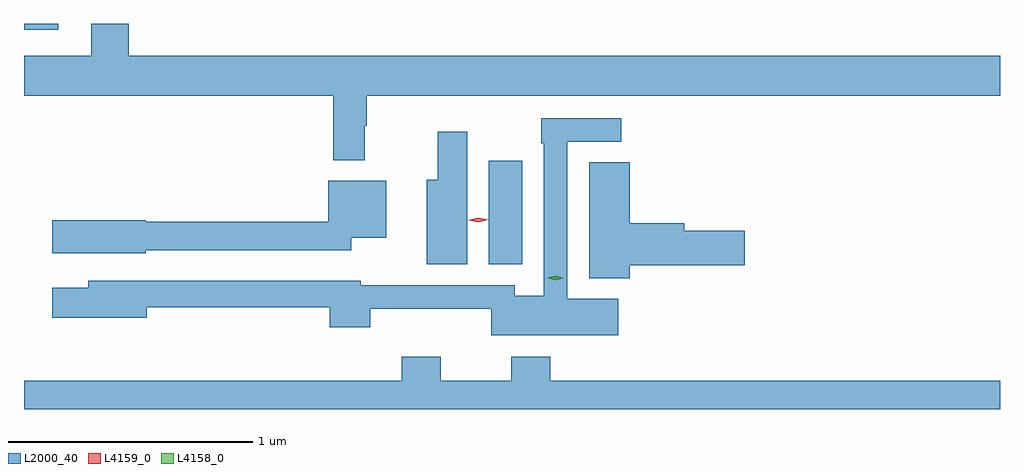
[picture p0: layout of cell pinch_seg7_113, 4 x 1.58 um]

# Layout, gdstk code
import gdstk
lib = gdstk.Library(unit=1e-6, precision=1e-09)
def R(c, l, rs):  # rectangles x0, y0, x1, y1
    for r in rs: c.add(gdstk.rectangle(r[:2], r[2:], *l))
def P(c, l, *ps):  # polygons
    for p in ps: c.add(gdstk.Polygon(p, *l))
L2000_40 = (2000, 40)
L4158_0 = (4158, 0)
L4159_0 = (4159, 0)

pinch_seg7_113 = lib.new_cell('pinch_seg7_113')
R(pinch_seg7_113, L2000_40, [(923.258,998.593,923.395,999.019), (921.353,999.555,921.493,999.579)])
P(pinch_seg7_113, L2000_40, [(922.75,999.161),(922.757,999.161),(922.757,999.284),(925.353,999.284),(925.353,999.448),(921.782,999.448),(921.782,999.579),(921.629,999.579),(921.629,999.448),(921.353,999.448),(921.353,999.284),(922.621,999.284),(922.621,999.021),(922.75,999.021)],
  [(923.788,998.452),(923.58,998.452),(923.58,999.096),(923.8,999.096),(923.8,999.192),(923.472,999.192),(923.472,999.089),(923.484,999.089),(923.484,998.464),(923.364,998.464),(923.364,998.508),(922.734,998.508),(922.734,998.526),(921.617,998.526),(921.617,998.497),(921.468,998.497),(921.468,998.375),(921.856,998.375),(921.856,998.418),(922.607,998.418),(922.607,998.336),(922.772,998.336),(922.772,998.411),(923.268,998.411),(923.268,998.303),(923.788,998.303)],
  [(923.17,999.136),(923.048,999.136),(923.048,998.941),(923.003,998.941),(923.003,998.593),(923.17,998.593)],
  [(923.836,998.59),(924.307,998.59),(924.307,998.732),(924.058,998.732),(924.058,998.761),(923.836,998.761),(923.836,999.011),(923.669,999.011),(923.669,998.537),(923.836,998.537)],
  [(921.852,998.652),(922.695,998.652),(922.695,998.702),(922.837,998.702),(922.837,998.935),(922.599,998.935),(922.599,998.768),(921.852,998.768),(921.852,998.774),(921.468,998.774),(921.468,998.639),(921.852,998.639)],
  [(925.353,998.116),(923.51,998.116),(923.51,998.215),(923.35,998.215),(923.35,998.116),(923.061,998.116),(923.061,998.215),(922.901,998.215),(922.901,998.116),(921.353,998.116),(921.353,998),(925.353,998)])
P(pinch_seg7_113, L4158_0, [(923.531,998.528),(923.497,998.538),(923.497,998.538),(923.497,998.539),(923.532,998.547),(923.566,998.537),(923.566,998.537),(923.566,998.536)])
P(pinch_seg7_113, L4159_0, [(923.215,998.765),(923.174,998.774),(923.174,998.774),(923.174,998.774),(923.215,998.785),(923.256,998.776),(923.256,998.776),(923.256,998.776)])

lib.write_gds('pinch_seg7_113.gds')
